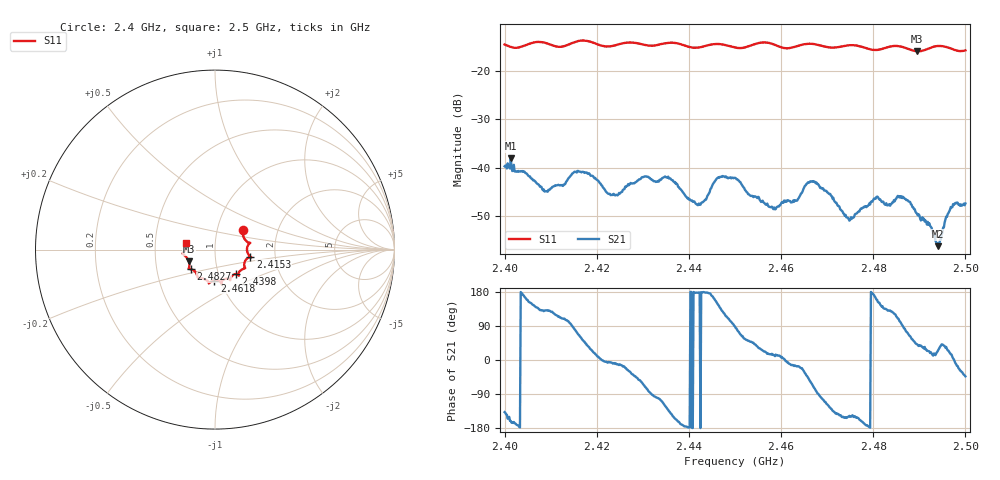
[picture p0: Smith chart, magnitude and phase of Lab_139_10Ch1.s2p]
# Hz S RI R 50
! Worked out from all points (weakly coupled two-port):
!   601 points, 2.4 GHz to 2.5 GHz, reference 50 ohm
!   highest |S21| = -38.02 dB at 2.4013 GHz (marker M1); lowest = -56.2 dB at 2.494 GHz (marker M2)
!   lowest |S11| = -15.9 dB at 2.4895 GHz (marker M3), VSWR 1.38, Z = 37 - j4.99 ohm
!   |S11| at or under -10 dB: start of sweep to end of sweep
!   S12 and S22 are empty: the file has one direction only
!   S11 on the Smith chart (normalised r, x): 2.4 GHz: 1.33, +0.29; 2.4153 GHz: 1.48, -0.12; 2.4398 GHz: 1.21, -0.34; 2.4618 GHz: 0.94, -0.33; 2.4827 GHz: 0.75, -0.17; 2.5 GHz: 0.72, +0.06
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2.4e9  0.1552 0.1065  -0.00764 -0.00698  0 0  0 0
2.401333e9  0.1551 0.0861  -0.0119 -0.00415  0 0  0 0
2.408833e9  0.1925 0.0351  -0.00372 0.00433  0 0  0 0
2.415333e9  0.1964 -0.0389  0.00174 0.00888  0 0  0 0
2.416667e9  0.2023 -0.043  0.00482 0.00755  0 0  0 0
2.4235e9  0.1625 -0.082  0.00515 -0.000861  0 0  0 0
2.433333e9  0.131 -0.1336  -0.00134 -0.00719  0 0  0 0
2.439833e9  0.1156 -0.1361  -0.00487 -0.000188  0 0  0 0
2.442333e9  0.093 -0.1492  -0.00414 0.000152  0 0  0 0
2.446333e9  0.085 -0.1704  -0.00655 0.00446  0 0  0 0
2.45e9  0.0653 -0.1623  0.000216 0.00787  0 0  0 0
2.457833e9  0.0378 -0.189  0.00379 0.000995  0 0  0 0
2.461833e9  -0.00305 -0.1728  0.00445 -0.000821  0 0  0 0
2.466667e9  -0.0345 -0.1882  0.00333 -0.00644  0 0  0 0
2.474667e9  -0.0917 -0.1603  -0.00253 -0.0015  0 0  0 0
2.482667e9  -0.1352 -0.1092  -0.00293 0.00291  0 0  0 0
2.483333e9  -0.1404 -0.1088  -0.00265 0.00313  0 0  0 0
2.486333e9  -0.1451 -0.1023  -8.45e-05 0.00486  0 0  0 0
2.4895e9  -0.1458 -0.0658  0.00252 0.00223  0 0  0 0
2.494e9  -0.1803 -0.0226  0.00142 0.00062  0 0  0 0
2.497167e9  -0.1688 -0.00584  0.00387 0.000571  0 0  0 0
2.5e9  -0.1591 0.0386  0.00312 -0.00292  0 0  0 0
